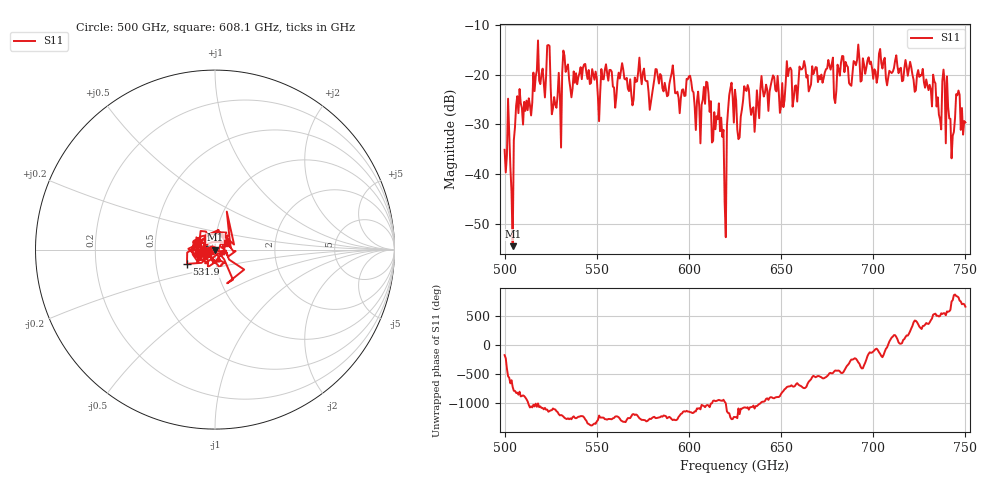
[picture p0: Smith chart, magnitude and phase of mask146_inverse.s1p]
!Created with skrf (http://scikit-rf.org).
# GHz S MA R 50.0
!freq magS11 angS11
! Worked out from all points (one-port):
!   401 points, 500 GHz to 750 GHz, reference 50 ohm
!   lowest |S11| = -54.5 dB at 504.4 GHz (marker M1), VSWR 1.00, Z = 50.2 - j0.0131 ohm
!   |S11| at or under -10 dB: start of sweep to end of sweep
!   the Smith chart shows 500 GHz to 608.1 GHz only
!   S11 on the Smith chart (normalised r, x): 500 GHz: 0.97, -0.00; 531.9 GHz: 0.72, -0.12; 608.1 GHz: 1.14, +0.09
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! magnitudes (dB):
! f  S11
! 500 GHz  -35.1
! 504.4 GHz  -54.5
! 507.5 GHz  -27.7
! 513.8 GHz  -26.1
! 516.9 GHz  -20.4
! 523.8 GHz  -14.0
! 526.9 GHz  -24.5
! 531.2 GHz  -19.6
! 531.9 GHz  -15.1
! 562.5 GHz  -20.7
! 593.8 GHz  -23.4
! 608.1 GHz  -22.4
! 617.5 GHz  -28.6
! 619.4 GHz  -45.5
! 620.6 GHz  -30.2
! 621.9 GHz  -24.1
! 625 GHz  -23.0
! 627.5 GHz  -32.6
! 631.2 GHz  -23.3
! 635 GHz  -26.6
! 656.2 GHz  -26.4
! 687.5 GHz  -22.0
! 718.8 GHz  -20.2
! 735.6 GHz  -28.0
! 738.8 GHz  -21.6
! 742.5 GHz  -36.8
! 745.6 GHz  -24.1
! 750 GHz  -29.6
